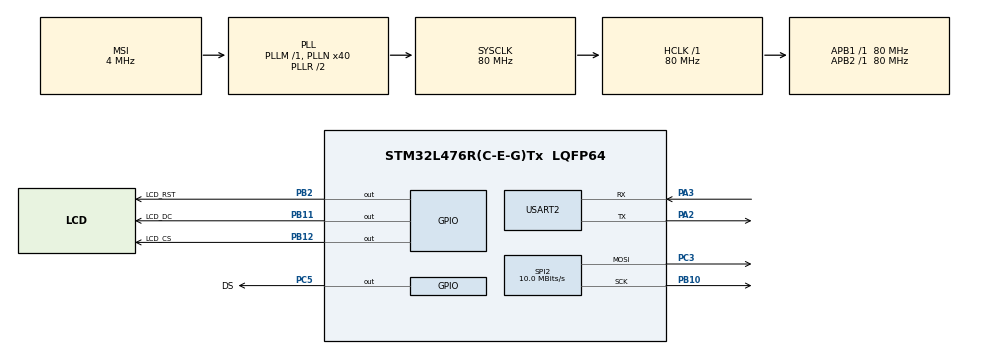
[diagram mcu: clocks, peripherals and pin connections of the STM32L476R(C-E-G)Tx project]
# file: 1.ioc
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Mcu.Family=STM32L4
Mcu.Name=STM32L476R(C-E-G)Tx
Mcu.Package=LQFP64
NVIC.PriorityGroup=NVIC_PRIORITYGROUP_4
PA13\ (JTMS-SWDIO).Mode=Serial_Wire
PA13\ (JTMS-SWDIO).Signal=SYS_JTMS-SWDIO
PA14\ (JTCK-SWCLK).Mode=Serial_Wire
PA14\ (JTCK-SWCLK).Signal=SYS_JTCK-SWCLK
PA2.Mode=Asynchronous
PA2.Signal=USART2_TX
PA3.Mode=Asynchronous
PA3.Signal=USART2_RX
PB10.Mode=TX_Only_Simplex_Unidirect_Master
PB10.Signal=SPI2_SCK
PB11.GPIO_Label=LCD_DC
PB11.Signal=GPIO_Output
PB12.GPIO_Label=LCD_CS
PB12.PinState=GPIO_PIN_SET
PB12.Signal=GPIO_Output
PB2.GPIO_Label=LCD_RST
PB2.Signal=GPIO_Output
PC3.Mode=TX_Only_Simplex_Unidirect_Master
PC3.Signal=SPI2_MOSI
PC5.GPIO_Label=DS
PC5.GPIO_ModeDefaultOutputPP=GPIO_MODE_OUTPUT_OD
PC5.GPIO_PuPd=GPIO_NOPULL
PC5.PinState=GPIO_PIN_SET
PC5.Signal=GPIO_Output
ProjectManager.HeapSize=0x200
ProjectManager.StackSize=0x400
ProjectManager.TargetToolchain=STM32CubeIDE
RCC.AHBFreq_Value=80000000
RCC.APB1Freq_Value=80000000
RCC.APB1TimFreq_Value=80000000
RCC.APB2Freq_Value=80000000
RCC.APB2TimFreq_Value=80000000
RCC.CortexFreq_Value=80000000
RCC.HCLKFreq_Value=80000000
RCC.HSE_VALUE=8000000
RCC.HSI_VALUE=16000000
RCC.LSE_VALUE=32768
RCC.MSI_VALUE=4000000
RCC.PLLN=40
RCC.SYSCLKFreq_VALUE=80000000
RCC.SYSCLKSource=RCC_SYSCLKSOURCE_PLLCLK
RCC.VCOOutputFreq_Value=160000000
SPI2.BaudRatePrescaler=SPI_BAUDRATEPRESCALER_8
SPI2.CalculateBaudRate=10.0 MBits/s
SPI2.DataSize=SPI_DATASIZE_8BIT
SPI2.Direction=SPI_DIRECTION_2LINES
SPI2.Mode=SPI_MODE_MASTER
SPI2.VirtualType=VM_MASTER
TIM6.Prescaler=79
USART2.VirtualMode-Asynchronous=VM_ASYNC
VP_TIM6_VS_ClockSourceINT.Mode=Enable_Timer
board=custom

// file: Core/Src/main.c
/* USER CODE BEGIN Header */
/**
  ******************************************************************************
  * @file           : main.c
  * @brief          : Main program body
  ******************************************************************************
  * @attention
  *
  * Copyright (c) 2024 STMicroelectronics.
  * All rights reserved.
  *
  * This software is licensed under terms that can be found in the LICENSE file
  * in the root directory of this software component.
  * If no LICENSE file comes with this software, it is provided AS-IS.
  *
  ******************************************************************************
  */
/* USER CODE END Header */
#include "main.h"
#include "spi.h"
#include "tim.h"
#include "usart.h"
#include "gpio.h"

/* USER CODE BEGIN Includes */
/* USER CODE BEGIN Includes */

#include "hagl.h"
#include "font6x9.h"
#include "rgb565.h"
#include <stdio.h>
#include "ds18b20.h"
#include "wchar.h"

/* USER CODE END Includes */

void SystemClock_Config(void);

/* USER CODE BEGIN 0 */
int __io_putchar(int ch)
{
  if (ch == '\n') {
    __io_putchar('\r');
  }

  HAL_UART_Transmit(&huart2, (uint8_t*)&ch, 1, HAL_MAX_DELAY);

  return 1;
}

/* USER CODE END 0 */

int main(void)
{

  /* MCU Configuration--------------------------------------------------------*/

  /* Reset of all peripherals, Initializes the Flash interface and the Systick. */
  HAL_Init();

  /* Configure the system clock */
  SystemClock_Config();

  /* Initialize all configured peripherals */
  MX_GPIO_Init();
  MX_USART2_UART_Init();
  MX_TIM6_Init();
  MX_SPI2_Init();
  /* USER CODE BEGIN 2 */
  if (ds18b20_init() != HAL_OK) {
    Error_Handler();
  }

  const uint8_t ds1[] = { 0x28, 0x29, 0x35, 0x7, 0xD6, 0x1, 0x3C, 0xFF };
  const uint8_t ds2[] = { 0x28, 0xD3, 0xEA, 0x7, 0xD6, 0x1, 0x3C, 0x73 };

  //HAL_TIM_Base_Start(&htim6);
  //HAL_StatusTypeDef rc = wire_reset();

  //wire_write(0x33);

  //int i;
  //uint8_t rom_code[8];
  //for (i = 0; i < 8; i++)
  //rom_code[i] = wire_read();

  //uint8_t crc = wire_crc(rom_code, 7);

  /* USER CODE END 2 */

  /* Infinite loop */
  /* USER CODE BEGIN WHILE */
  lcd_init();
  hagl_surface_t surface;

  hagl_hal_init(&surface);

  hagl_put_text(&surface, L"T1:", 10, 70, WHITE, font6x9);
  hagl_put_text(&surface, L"T2:", 10, 100, WHITE, font6x9);

  lcd_copy();

  while (1)
  {
      wchar_t wbuffer[16];

      ds18b20_start_measure(ds1);
      ds18b20_start_measure(ds2);

      HAL_Delay(750);

      float temp1 = ds18b20_get_temp(ds1);
      float temp2 = ds18b20_get_temp(ds2);

      printf("Debug Temp1: %.1f, Temp2: %.1f\n", temp1, temp2);

      hagl_fill_rectangle(&surface, 40, 70, 150, 85, rgb565(0, 0, 0));
      hagl_fill_rectangle(&surface, 40, 100, 150, 115, rgb565(0, 0, 0));

      if (temp1 <= -80.0f) {
          swprintf(wbuffer, sizeof(wbuffer) / sizeof(wbuffer[0]), L"Error");
      } else {
          swprintf(wbuffer, sizeof(wbuffer) / sizeof(wbuffer[0]), L"%.1f *C", temp1);
      }
      printf("Buffer T1: %ls\n", wbuffer);
      hagl_put_text(&surface, wbuffer, 40, 70, WHITE, font6x9);

      if (temp2 <= -80.0f) {
          swprintf(wbuffer, sizeof(wbuffer) / sizeof(wbuffer[0]), L"Error");
      } else {
          swprintf(wbuffer, sizeof(wbuffer) / sizeof(wbuffer[0]), L"%.1f *C", temp2);
      }
      printf("Buffer T2: %ls\n", wbuffer);
      hagl_put_text(&surface, wbuffer, 40, 100, WHITE, font6x9);

      lcd_copy();
      //HAL_Delay(1000);

      /* USER CODE END WHILE */
  }

}

void SystemClock_Config(void)
{
  RCC_OscInitTypeDef RCC_OscInitStruct = {0};
  RCC_ClkInitTypeDef RCC_ClkInitStruct = {0};

  /** Configure the main internal regulator output voltage
  */
  if (HAL_PWREx_ControlVoltageScaling(PWR_REGULATOR_VOLTAGE_SCALE1) != HAL_OK)
  {
    Error_Handler();
  }

  /** Initializes the RCC Oscillators according to the specified parameters
  * in the RCC_OscInitTypeDef structure.
  */
  RCC_OscInitStruct.OscillatorType = RCC_OSCILLATORTYPE_MSI;
  RCC_OscInitStruct.MSIState = RCC_MSI_ON;
  RCC_OscInitStruct.MSICalibrationValue = 0;
  RCC_OscInitStruct.MSIClockRange = RCC_MSIRANGE_6;
  RCC_OscInitStruct.PLL.PLLState = RCC_PLL_ON;
  RCC_OscInitStruct.PLL.PLLSource = RCC_PLLSOURCE_MSI;
  RCC_OscInitStruct.PLL.PLLM = 1;
  RCC_OscInitStruct.PLL.PLLN = 40;
  RCC_OscInitStruct.PLL.PLLP = RCC_PLLP_DIV7;
  RCC_OscInitStruct.PLL.PLLQ = RCC_PLLQ_DIV2;
  RCC_OscInitStruct.PLL.PLLR = RCC_PLLR_DIV2;
  if (HAL_RCC_OscConfig(&RCC_OscInitStruct) != HAL_OK)
  {
    Error_Handler();
  }

  /** Initializes the CPU, AHB and APB buses clocks
  */
  RCC_ClkInitStruct.ClockType = RCC_CLOCKTYPE_HCLK|RCC_CLOCKTYPE_SYSCLK
                              |RCC_CLOCKTYPE_PCLK1|RCC_CLOCKTYPE_PCLK2;
  RCC_ClkInitStruct.SYSCLKSource = RCC_SYSCLKSOURCE_PLLCLK;
  RCC_ClkInitStruct.AHBCLKDivider = RCC_SYSCLK_DIV1;
  RCC_ClkInitStruct.APB1CLKDivider = RCC_HCLK_DIV1;
  RCC_ClkInitStruct.APB2CLKDivider = RCC_HCLK_DIV1;

  if (HAL_RCC_ClockConfig(&RCC_ClkInitStruct, FLASH_LATENCY_4) != HAL_OK)
  {
    Error_Handler();
  }
}

void Error_Handler(void)
{
  __disable_irq();
  while (1)
  {
  }
}
